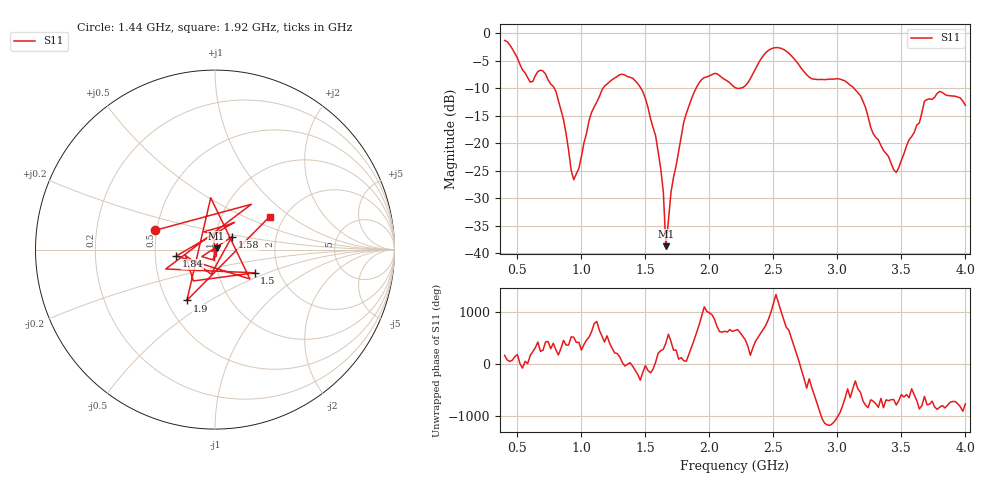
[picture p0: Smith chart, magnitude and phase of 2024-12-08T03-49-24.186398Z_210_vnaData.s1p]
!Created with skrf (http://scikit-rf.org).
# Hz S RI R 50.0
!freq ReS11 ImS11
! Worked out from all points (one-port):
!   181 points, 400 MHz to 4 GHz, reference 50 ohm
!   lowest |S11| = -38.7 dB at 1.66 GHz (marker M1), VSWR 1.02, Z = 50.9 + j0.765 ohm
!   |S11| at or under -10 dB: 788.3 MHz to 1.169 GHz (380.7 MHz wide, 38.9 % of centre); 1.465 GHz to 1.896 GHz (430.7 MHz wide, 25.6 % of centre); 3.13 GHz to end of sweep (the widest 3 of 4)
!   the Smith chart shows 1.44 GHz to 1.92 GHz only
!   S11 on the Smith chart (normalised r, x): 1.44 GHz: 0.49, +0.12; 1.5 GHz: 1.50, -0.41; 1.58 GHz: 1.19, +0.17; 1.84 GHz: 0.64, -0.05; 1.9 GHz: 0.63, -0.40; 1.92 GHz: 1.69, +0.71
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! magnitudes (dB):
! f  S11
! 400 MHz  -1.3
! 600 MHz  -8.9
! 720 MHz  -7.4
! 860 MHz  -15.7
! 940 MHz  -26.6
! 1.08 GHz  -14.3
! 1.3 GHz  -7.5
! 1.44 GHz  -9.1
! 1.5 GHz  -11.9
! 1.58 GHz  -18.6
! 1.64 GHz  -28.9
! 1.66 GHz  -38.7
! 1.7 GHz  -28.9
! 1.76 GHz  -21.4
! 1.84 GHz  -13.2
! 1.9 GHz  -9.8
! 1.92 GHz  -9.0
! 2.04 GHz  -7.3
! 2.2 GHz  -9.9
! 2.48 GHz  -2.8
! 2.66 GHz  -4.6
! 2.8 GHz  -8.3
! 3.1 GHz  -9.4
! 3.46 GHz  -25.3
! 3.56 GHz  -19.4
! 3.68 GHz  -12.4
! 3.8 GHz  -10.6
! 4 GHz  -13.1
